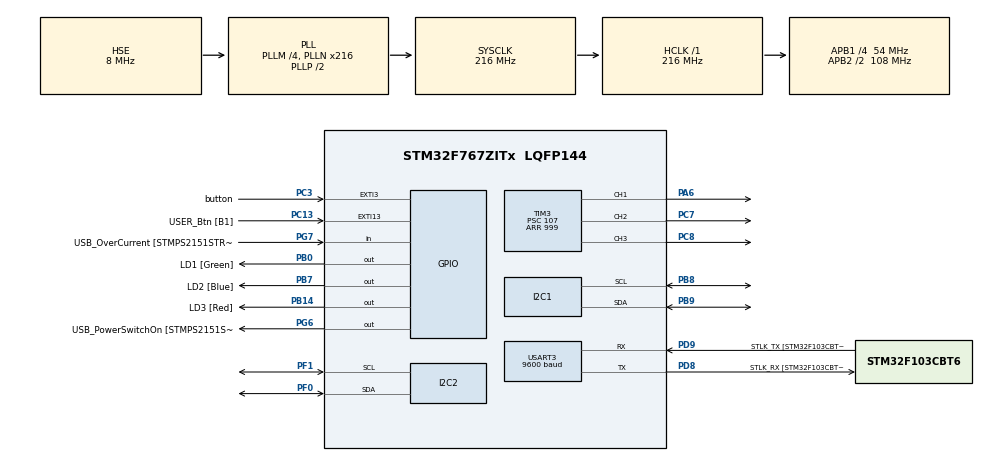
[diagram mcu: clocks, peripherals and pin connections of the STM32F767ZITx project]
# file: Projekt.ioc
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ARM.CMSIS.5.7.0.CMSISJjCORE=true
ARM.CMSIS.5.7.0.CMSISJjDSP=Library
I2C1.Timing=0x20404768
I2C2.Timing=0x20404768
Mcu.Family=STM32F7
Mcu.Name=STM32F767ZITx
Mcu.Package=LQFP144
NVIC.EXTI15_10_IRQn=true\:0\:0\:false\:false\:true\:true\:true
NVIC.EXTI3_IRQn=true\:0\:0\:false\:false\:true\:true\:true
NVIC.I2C1_ER_IRQn=true\:0\:0\:false\:false\:true\:true\:true
NVIC.I2C1_EV_IRQn=true\:0\:0\:false\:false\:true\:true\:true
NVIC.PriorityGroup=NVIC_PRIORITYGROUP_4
NVIC.TIM2_IRQn=true\:0\:0\:false\:false\:true\:true\:true
NVIC.TIM3_IRQn=true\:0\:0\:false\:false\:true\:true\:true
NVIC.USART3_IRQn=true\:0\:0\:false\:false\:true\:true\:true
PA1.GPIO_Label=RMII_REF_CLK [LAN8742A-CZ-TR_REFCLK0]
PA1.Signal=ETH_REF_CLK
PA10.GPIO_Label=USB_ID
PA10.Signal=USB_OTG_FS_ID
PA11.GPIO_Label=USB_DM
PA11.Signal=USB_OTG_FS_DM
PA12.GPIO_Label=USB_DP
PA12.Signal=USB_OTG_FS_DP
PA13.GPIO_Label=TMS
PA13.Mode=Serial_Wire
PA13.Signal=SYS_JTMS-SWDIO
PA14.GPIO_Label=TCK
PA14.Mode=Serial_Wire
PA14.Signal=SYS_JTCK-SWCLK
PA2.GPIO_Label=RMII_MDIO [LAN8742A-CZ-TR_MDIO]
PA2.Signal=ETH_MDIO
PA6.Signal=S_TIM3_CH1
PA7.GPIO_Label=RMII_CRS_DV [LAN8742A-CZ-TR_CRS_DV]
PA7.Signal=ETH_CRS_DV
PA8.GPIO_Label=USB_SOF [TP1]
PA8.Signal=USB_OTG_FS_SOF
PA9.GPIO_Label=USB_VBUS
PA9.Signal=USB_OTG_FS_VBUS
PB0.GPIO_Label=LD1 [Green]
PB0.Signal=GPIO_Output
PB13.GPIO_Label=RMII_TXD1 [LAN8742A-CZ-TR_TXD1]
PB13.Signal=ETH_TXD1
PB14.GPIO_Label=LD3 [Red]
PB14.Signal=GPIO_Output
PB3.GPIO_Label=SWO
PB3.Signal=SYS_JTDO-SWO
PB7.GPIO_Label=LD2 [Blue]
PB7.Signal=GPIO_Output
PB8.Mode=I2C
PB8.Signal=I2C1_SCL
PB9.Mode=I2C
PB9.Signal=I2C1_SDA
PC1.GPIO_Label=RMII_MDC [LAN8742A-CZ-TR_MDC]
PC1.Signal=ETH_MDC
PC13.GPIO_Label=USER_Btn [B1]
PC13.Signal=GPXTI13
PC14/OSC32_IN.Mode=LSE-External-Oscillator
PC14/OSC32_IN.Signal=RCC_OSC32_IN
PC15/OSC32_OUT.Mode=LSE-External-Oscillator
PC15/OSC32_OUT.Signal=RCC_OSC32_OUT
PC3.GPIO_Label=button
PC3.GPIO_ModeDefaultEXTI=GPIO_MODE_IT_FALLING
PC3.GPIO_PuPd=GPIO_PULLUP
PC3.Signal=GPXTI3
PC4.GPIO_Label=RMII_RXD0 [LAN8742A-CZ-TR_RXD0]
PC4.Signal=ETH_RXD0
PC5.GPIO_Label=RMII_RXD1 [LAN8742A-CZ-TR_RXD1]
PC5.Signal=ETH_RXD1
PC7.Signal=S_TIM3_CH2
PC8.Signal=S_TIM3_CH3
PD8.GPIO_Label=STLK_RX [STM32F103CBT6_PA3]
PD8.Mode=Asynchronous
PD8.Signal=USART3_TX
PD9.GPIO_Label=STLK_TX [STM32F103CBT6_PA2]
PD9.Mode=Asynchronous
PD9.Signal=USART3_RX
PF0.Mode=I2C
PF0.Signal=I2C2_SDA
PF1.Mode=I2C
PF1.Signal=I2C2_SCL
PG11.GPIO_Label=RMII_TX_EN [LAN8742A-CZ-TR_TXEN]
PG11.Signal=ETH_TX_EN
PG13.GPIO_Label=RMII_TXD0 [LAN8742A-CZ-TR_TXD0]
PG13.Signal=ETH_TXD0
PG6.GPIO_Label=USB_PowerSwitchOn [STMPS2151STR_EN]
PG6.Signal=GPIO_Output
PG7.GPIO_Label=USB_OverCurrent [STMPS2151STR_FAULT]
PG7.Signal=GPIO_Input
PH0/OSC_IN.GPIO_Label=MCO [STM32F103CBT6_PA8]
PH0/OSC_IN.Mode=HSE-External-Clock-Source
PH0/OSC_IN.Signal=RCC_OSC_IN
PH1/OSC_OUT.Mode=HSE-External-Clock-Source
PH1/OSC_OUT.Signal=RCC_OSC_OUT
ProjectManager.HeapSize=0x200
ProjectManager.StackSize=0x400
ProjectManager.TargetToolchain=STM32CubeIDE
RCC.48MHZClocksFreq_Value=24000000
RCC.AHBFreq_Value=216000000
RCC.APB1CLKDivider=RCC_HCLK_DIV4
RCC.APB1Freq_Value=54000000
RCC.APB1TimFreq_Value=108000000
RCC.APB2CLKDivider=RCC_HCLK_DIV2
RCC.APB2Freq_Value=108000000
RCC.APB2TimFreq_Value=216000000
RCC.CortexFreq_Value=216000000
RCC.HCLKFreq_Value=216000000
RCC.HSE_VALUE=8000000
RCC.HSI_VALUE=16000000
RCC.PLLM=4
RCC.PLLMUL=RCC_PLL_MUL9
RCC.PLLN=216
RCC.PLLQ=4
RCC.PLLSourceVirtual=RCC_PLLSOURCE_HSE
RCC.PRESCALERUSB=RCC_USBCLKSOURCE_PLL_DIV1_5
RCC.SYSCLKFreq_VALUE=216000000
RCC.SYSCLKSource=RCC_SYSCLKSOURCE_PLLCLK
RCC.SYSCLKSourceVirtual=RCC_SYSCLKSOURCE_PLLCLK
RCC.USBFreq_Value=108000000
RCC.VCOOutputFreq_Value=432000000
SH.S_TIM3_CH1.0=TIM3_CH1,PWM Generation1 CH1
SH.S_TIM3_CH2.0=TIM3_CH2,PWM Generation2 CH2
SH.S_TIM3_CH3.0=TIM3_CH3,PWM Generation3 CH3
TIM2.Period=129869
TIM2.Prescaler=107
TIM3.Channel-PWM\ Generation1\ CH1=TIM_CHANNEL_1
TIM3.Channel-PWM\ Generation2\ CH2=TIM_CHANNEL_2
TIM3.Channel-PWM\ Generation3\ CH3=TIM_CHANNEL_3
TIM3.Period=999
TIM3.Prescaler=107
TIM3.Pulse-PWM\ Generation1\ CH1=0
TIM3.Pulse-PWM\ Generation2\ CH2=0
TIM3.Pulse-PWM\ Generation3\ CH3=0
USART3.BaudRate=9600
USART3.VirtualMode-Asynchronous=VM_ASYNC
VP_ARM.CMSIS_VS_CMSISJjCORE_5.4.0_5.7.0.Mode=CMSISJjCORE
VP_ARM.CMSIS_VS_CMSISJjDSP_1.8.0_5.7.0.Mode=CMSISJjDSP
VP_TIM2_VS_ClockSourceINT.Mode=Internal
VP_TIM3_VS_ClockSourceINT.Mode=Internal
board=NUCLEO-F767ZI

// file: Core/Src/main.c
/* USER CODE BEGIN Header */
/**
  ******************************************************************************
  * @file           : main.c
  * @brief          : Main program body
  ******************************************************************************
  * @attention
  *
  * <h2><center>&copy; Copyright (c) 2021 STMicroelectronics.
  * All rights reserved.</center></h2>
  *
  * This software component is licensed by ST under BSD 3-Clause license,
  * the "License"; You may not use this file except in compliance with the
  * License. You may obtain a copy of the License at:
  *                        opensource.org/licenses/BSD-3-Clause
  *
  ******************************************************************************
  */
/* USER CODE END Header */
#include "main.h"
#include "i2c.h"
#include "tim.h"
#include "usart.h"
#include "gpio.h"

/* USER CODE BEGIN Includes */
#include "stdio.h"
#include "string.h"
#include "bh1750.h"
#include "regulator.h"
#include "led.h"
#include "lcd.h"

/* USER CODE END Includes */

void SystemClock_Config(void);

/* USER CODE BEGIN 0 */

#define START 1
#define STOP 0

int akcja = 2;
int pulse =0;

float wartosc_zadana = 130.0f;

float duty = 0.0f;
BH1750_HandleTypeDef hbh1750_1 = {
.I2C = &hi2c1, .Address = BH1750_ADDRESS_L, .Timeout = 0xffff};
regulator_Handle_TypeDef reg_I = {
   .Ki = 50.0f,.Kd=0.0f,.Kp = 0.0f, .Ts = 0.0007f, .e_int = 0.0f,.e_der = 0.0f,.e_prev = 0.0f, .limitdown = 0.0f, .limitup=100.0f};
LED_HandleTypeDef led = {
  .R = 1.0f, .G = 0.0f, .B = 1.0f, .duty_R=0.0f, .duty_G=0.0f, .duty_B=0.0f};

LCD_HandleTypeDef moj_lcd = {
		.yref = "0", .Blue = "0", .Green = "0", .Red = "0", .message1 = "", .u = "", .y = "",.message2 = ""};
float LightIntensity = -0.1;
int light = -1;
int wartzad = 0;
int u_dutyi = 0;
char komunikat[20];

float led_R;
float led_G;
float led_B;
int pulseR=0,pulseG=0,pulseB=0;

char on[2];
char kolor[12];
char errors[50] = "Zly wzor lub wartosc poza zakresem!";
char yr[4];
char wiadomosc[23];

int lcd_yr = 0;
int lcd_light = -1;
int lcd_index = 0;
_Bool button_state;

// Odbieranie wiadomosci z aplikacji badz terminala
void HAL_UART_RxCpltCallback(UART_HandleTypeDef* huart)
{
	if(huart->Instance == USART3)
	{

		if(wiadomosc[0] == 'K' && wiadomosc[1] == ':' && wiadomosc[2] == 'R' && wiadomosc[6] == 'G' && wiadomosc[10] == 'B' && wiadomosc[14] == ',' && wiadomosc[15] == 'Y' && wiadomosc[16] == ':' && wiadomosc[20] == ',' && wiadomosc[21] == 'O')
		{

			if(wiadomosc[22] == 'N')
			{
			sscanf(wiadomosc,"K:R%dG%dB%d,Y:%d,ON",&pulseR,&pulseG,&pulseB,&wartzad);
			akcja = 1;
			if(pulseR >=0 && pulseR <=100)
			{
				led.R = (float)(pulseR/100.0f);

			}
			if(pulseG >=0 && pulseG <=100)
			{
				led.G = (float)(pulseG/100.0f);

			}
			if(pulseB >=0 && pulseB <=100)
			{
				led.B = (float)(pulseB/100.0f);

			}
			wartosc_zadana = (float)(wartzad*1.0f);

			lcd_yr = wartzad;

			}
			else if(wiadomosc[22] == 'F')
			{
				akcja = 0;

			}
			else
			{
				HAL_UART_Transmit(huart, (uint8_t*)errors, strlen(errors), 1000);
			}
		}
		HAL_UART_Receive_IT(&huart3, (uint8_t*)wiadomosc, 23);

	}
}

void HAL_TIM_PeriodElapsedCallback(TIM_HandleTypeDef *htim)
{
	if(htim->Instance == TIM2)
	{
		// Zczytywanie danych z czujnika
		LightIntensity = BH1750_ReadLux(&hbh1750_1);
		light = LightIntensity*100;
		lcd_light = LightIntensity*100;
		u_dutyi = duty*100;

		if(akcja == START)
		{
//		sprintf(komunikat,"%d.%d\r\n",light/100,light%100);
//		HAL_UART_Transmit(&huart3, komunikat, strlen(komunikat), 150);

		// Obliczanie sygnalu sterujacego
		duty = Reg_SignalControl(&reg_I, wartosc_zadana, LightIntensity);
		ColorsGenerator(&led, duty);
		__HAL_TIM_SET_COMPARE(&htim3,TIM_CHANNEL_1,(uint32_t)((led.duty_R)*10));
		__HAL_TIM_SET_COMPARE(&htim3,TIM_CHANNEL_2,(uint32_t)((led.duty_G)*10));
		__HAL_TIM_SET_COMPARE(&htim3,TIM_CHANNEL_3,(uint32_t)((led.duty_B)*10));
		}
		else if(akcja == STOP)
		{
			// Zatrzymanie pracy ukladu
			led.duty_R = 0.0f;
			led.duty_G = 0.0f;
			led.duty_B = 0.0f;
			duty = 0.0f;
			__HAL_TIM_SET_COMPARE(&htim3,TIM_CHANNEL_1,(uint32_t)((led.duty_R)*10));
			__HAL_TIM_SET_COMPARE(&htim3,TIM_CHANNEL_2,(uint32_t)((led.duty_G)*10));
			__HAL_TIM_SET_COMPARE(&htim3,TIM_CHANNEL_3,(uint32_t)((led.duty_B)*10));

		}
	}

}

void HAL_GPIO_EXTI_Callback(uint16_t GPIO_Pin)
{
	// Wysylanie wiadomosci na lcd (aktualnych z listy)
  if(GPIO_Pin == USER_Btn_Pin)
  {
	  sprintf(moj_lcd.y,"Y=%d.%d[lux]",lcd_light/100,lcd_light%100);
	  sprintf(moj_lcd.yref,"Yref=%d[lux]",lcd_yr);
	  sprintf(moj_lcd.u,"u=%d.%d[lux]",u_dutyi/100,u_dutyi%100);
	  sprintf(moj_lcd.Red,"RED=%d[%]",pulseR);
	  sprintf(moj_lcd.Green,"GREEN=%d[%]",pulseG);
	  sprintf(moj_lcd.Blue,"BLUE=%d[%]",pulseB);
	  lcd_clear();
	  send_message_to_lcd(&moj_lcd, lcd_index);
	  HAL_UART_Receive_IT(&huart3, (uint8_t*)wiadomosc, 23);
  }
  else if(GPIO_Pin == button_Pin) // Interiwanie po liscie wartosci wysiwetlanych na lcd
  {
	  if(lcd_index >=0 && lcd_index < 5)
	  {
		  lcd_index++;
	  }
	  else
	  {
		  lcd_index = 0;
	  }
	  sprintf(moj_lcd.y,"Y=%d.%d[lux]",lcd_light/100,lcd_light%100);
	  sprintf(moj_lcd.yref,"Yref=%d[lux]",lcd_yr);
	  sprintf(moj_lcd.u,"u=%d.%d[lux]",u_dutyi/100,u_dutyi%100);
	  sprintf(moj_lcd.Red,"RED=%d[%]",pulseR);
	  sprintf(moj_lcd.Green,"GREEN=%d[%]",pulseG);
	  sprintf(moj_lcd.Blue,"BLUE=%d[%]",pulseB);
	  lcd_clear();
	  send_message_to_lcd(&moj_lcd, lcd_index);
	  HAL_UART_Receive_IT(&huart3, (uint8_t*)wiadomosc, 23);
  }
}

/* USER CODE END 0 */

int main(void)
{

  /* MCU Configuration--------------------------------------------------------*/

  /* Reset of all peripherals, Initializes the Flash interface and the Systick. */
  HAL_Init();

  /* Configure the system clock */
  SystemClock_Config();

  /* Initialize all configured peripherals */
  MX_GPIO_Init();
  MX_USART3_UART_Init();
  MX_TIM3_Init();
  MX_TIM2_Init();
  MX_I2C1_Init();
  MX_I2C2_Init();
  /* USER CODE BEGIN 2 */

   // Inicjalizacja czujnika cyfrowego
   uint8_t TrybPracy = BH1750_CONTINOUS_H_RES_MODE;
   BH1750_Init(&hbh1750_1, TrybPracy);

   // Wystartowanie zegarow
   HAL_TIM_PWM_Start(&htim3,TIM_CHANNEL_1);
   HAL_TIM_PWM_Start(&htim3,TIM_CHANNEL_2);
   HAL_TIM_PWM_Start(&htim3,TIM_CHANNEL_3);
   HAL_TIM_Base_Start_IT(&htim2);

   // Oczekiwanie na komende UART
   HAL_UART_Receive_IT(&huart3, (uint8_t*)wiadomosc, 23);

   //Inicjalizacja LCD
   lcd_init();
   lcd_send_string("Witamy");
   lcd_put_cur(1, 0);
   lcd_send_string("LED RGB");

  /* USER CODE END 2 */

  /* Infinite loop */
  while (1)
  {

  }
}

void SystemClock_Config(void)
{
  RCC_OscInitTypeDef RCC_OscInitStruct = {0};
  RCC_ClkInitTypeDef RCC_ClkInitStruct = {0};
  RCC_PeriphCLKInitTypeDef PeriphClkInitStruct = {0};

  /** Configure LSE Drive Capability
  */
  HAL_PWR_EnableBkUpAccess();
  /** Configure the main internal regulator output voltage
  */
  __HAL_RCC_PWR_CLK_ENABLE();
  __HAL_PWR_VOLTAGESCALING_CONFIG(PWR_REGULATOR_VOLTAGE_SCALE1);
  /** Initializes the RCC Oscillators according to the specified parameters
  * in the RCC_OscInitTypeDef structure.
  */
  RCC_OscInitStruct.OscillatorType = RCC_OSCILLATORTYPE_HSE;
  RCC_OscInitStruct.HSEState = RCC_HSE_BYPASS;
  RCC_OscInitStruct.PLL.PLLState = RCC_PLL_ON;
  RCC_OscInitStruct.PLL.PLLSource = RCC_PLLSOURCE_HSE;
  RCC_OscInitStruct.PLL.PLLM = 4;
  RCC_OscInitStruct.PLL.PLLN = 216;
  RCC_OscInitStruct.PLL.PLLP = RCC_PLLP_DIV2;
  RCC_OscInitStruct.PLL.PLLQ = 4;
  RCC_OscInitStruct.PLL.PLLR = 2;
  if (HAL_RCC_OscConfig(&RCC_OscInitStruct) != HAL_OK)
  {
    Error_Handler();
  }
  /** Activate the Over-Drive mode
  */
  if (HAL_PWREx_EnableOverDrive() != HAL_OK)
  {
    Error_Handler();
  }
  /** Initializes the CPU, AHB and APB buses clocks
  */
  RCC_ClkInitStruct.ClockType = RCC_CLOCKTYPE_HCLK|RCC_CLOCKTYPE_SYSCLK
                              |RCC_CLOCKTYPE_PCLK1|RCC_CLOCKTYPE_PCLK2;
  RCC_ClkInitStruct.SYSCLKSource = RCC_SYSCLKSOURCE_PLLCLK;
  RCC_ClkInitStruct.AHBCLKDivider = RCC_SYSCLK_DIV1;
  RCC_ClkInitStruct.APB1CLKDivider = RCC_HCLK_DIV4;
  RCC_ClkInitStruct.APB2CLKDivider = RCC_HCLK_DIV2;

  if (HAL_RCC_ClockConfig(&RCC_ClkInitStruct, FLASH_LATENCY_7) != HAL_OK)
  {
    Error_Handler();
  }
  PeriphClkInitStruct.PeriphClockSelection = RCC_PERIPHCLK_USART3|RCC_PERIPHCLK_I2C1
                              |RCC_PERIPHCLK_I2C2;
  PeriphClkInitStruct.Usart3ClockSelection = RCC_USART3CLKSOURCE_PCLK1;
  PeriphClkInitStruct.I2c1ClockSelection = RCC_I2C1CLKSOURCE_PCLK1;
  PeriphClkInitStruct.I2c2ClockSelection = RCC_I2C2CLKSOURCE_PCLK1;
  if (HAL_RCCEx_PeriphCLKConfig(&PeriphClkInitStruct) != HAL_OK)
  {
    Error_Handler();
  }
}

void Error_Handler(void)
{
  __disable_irq();
  while (1)
  {
  }
}

/************************ (C) COPYRIGHT STMicroelectronics *****END OF FILE****/
